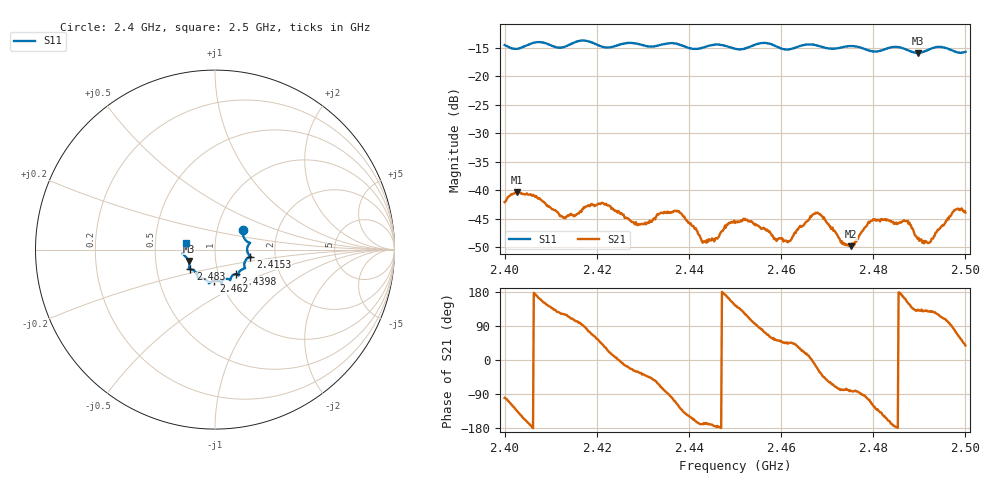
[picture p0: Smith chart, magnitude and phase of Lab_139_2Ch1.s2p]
# Hz S RI R 50
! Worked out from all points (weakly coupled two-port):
!   601 points, 2.4 GHz to 2.5 GHz, reference 50 ohm
!   highest |S21| = -40.33 dB at 2.4027 GHz (marker M1); lowest = -49.8 dB at 2.4752 GHz (marker M2)
!   lowest |S11| = -15.9 dB at 2.4897 GHz (marker M3), VSWR 1.38, Z = 36.9 - j4.81 ohm
!   |S11| at or under -10 dB: start of sweep to end of sweep
!   S12 and S22 are empty: the file has one direction only
!   S11 on the Smith chart (normalised r, x): 2.4 GHz: 1.33, +0.30; 2.4153 GHz: 1.48, -0.12; 2.4398 GHz: 1.21, -0.34; 2.462 GHz: 0.93, -0.33; 2.483 GHz: 0.74, -0.17; 2.5 GHz: 0.72, +0.06
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2.4e9  0.1553 0.1069  -0.00135 -0.00779  0 0  0 0
2.402667e9  0.1623 0.0645  -0.00672 -0.00689  0 0  0 0
2.415333e9  0.1963 -0.0388  -0.00148 0.00592  0 0  0 0
2.416667e9  0.2021 -0.0427  -0.000432 0.00646  0 0  0 0
2.4215e9  0.171 -0.0588  0.00612 0.00464  0 0  0 0
2.429167e9  0.1602 -0.1064  0.00424 -0.00279  0 0  0 0
2.433333e9  0.1308 -0.1334  0.00279 -0.00546  0 0  0 0
2.437333e9  0.1312 -0.1425  -0.00276 -0.00595  0 0  0 0
2.439833e9  0.1152 -0.1362  -0.00434 -0.0029  0 0  0 0
2.443333e9  0.0882 -0.1579  -0.00345 -0.000844  0 0  0 0
2.45e9  0.0648 -0.1626  -0.00421 0.00303  0 0  0 0
2.462e9  -0.00508 -0.1733  0.00252 0.0026  0 0  0 0
2.466667e9  -0.0343 -0.1879  0.00599 6.29e-05  0 0  0 0
2.475167e9  -0.0928 -0.1597  0.000468 -0.00321  0 0  0 0
2.4795e9  -0.1063 -0.1288  -0.00196 -0.00504  0 0  0 0
2.483e9  -0.1373 -0.1098  -0.00508 -0.00228  0 0  0 0
2.483333e9  -0.14 -0.1094  -0.00514 -0.00181  0 0  0 0
2.487333e9  -0.1431 -0.0939  -0.00482 0.00237  0 0  0 0
2.489667e9  -0.1476 -0.0636  -0.00253 0.00277  0 0  0 0
2.492167e9  -0.1698 -0.0332  -0.00214 0.00274  0 0  0 0
2.497667e9  -0.1654 0.00124  0.00129 0.00664  0 0  0 0
2.5e9  -0.1597 0.0391  0.00502 0.00397  0 0  0 0
